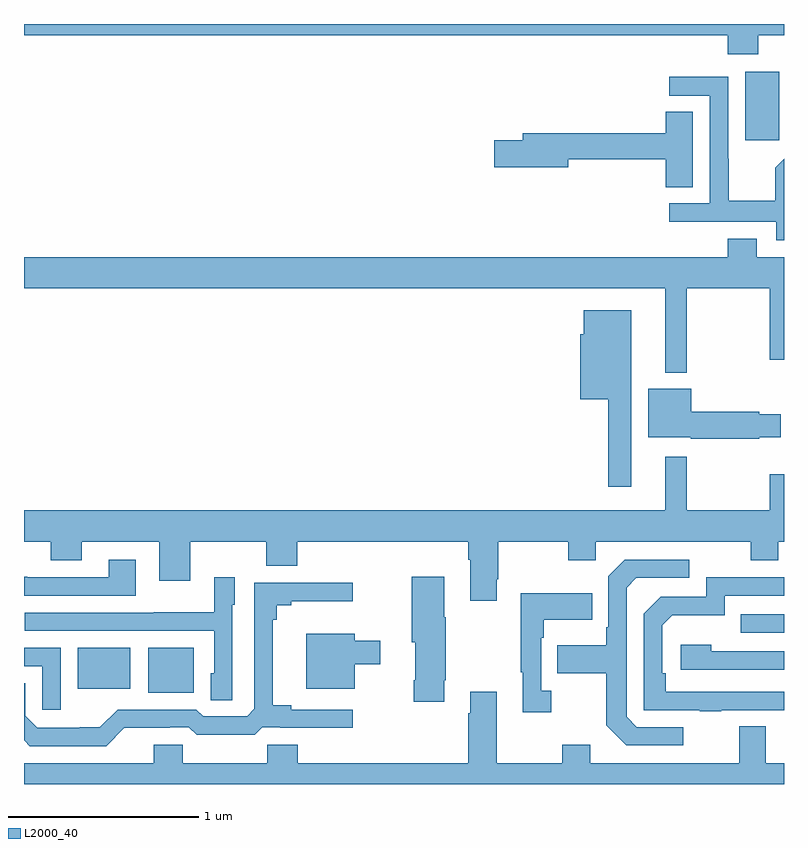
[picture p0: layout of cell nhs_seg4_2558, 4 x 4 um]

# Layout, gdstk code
import gdstk
lib = gdstk.Library(unit=1e-6, precision=1e-09)
def R(c, l, rs):  # rectangles x0, y0, x1, y1
    for r in rs: c.add(gdstk.rectangle(r[:2], r[2:], *l))
def P(c, l, *ps):  # polygons
    for p in ps: c.add(gdstk.Polygon(p, *l))
L2000_40 = (2000, 40)

nhs_seg4_2558 = lib.new_cell('nhs_seg4_2558')
R(nhs_seg4_2558, L2000_40, [(245.654,773.381,245.893,773.617), (245.282,773.402,245.56,773.617), (248.773,773.697,249,773.793), (248.795,776.289,248.974,776.65)])
P(nhs_seg4_2558, L2000_40, [(248.865,776.84),(249,776.84),(249,776.9),(245,776.9),(245,776.84),(248.705,776.84),(248.705,776.741),(248.865,776.741)],
  [(249,776.19),(248.953,776.143),(248.953,775.969),(248.709,775.969),(248.709,776.192),(248.706,776.192),(248.706,776.622),(248.397,776.622),(248.397,776.523),(248.61,776.523),(248.61,775.956),(248.397,775.956),(248.397,775.86),(248.958,775.86),(248.958,775.763),(249,775.763)],
  [(248.521,776.438),(248.378,776.438),(248.378,776.324),(247.625,776.324),(247.625,776.288),(247.476,776.288),(247.476,776.146),(247.864,776.146),(247.864,776.188),(248.378,776.188),(248.378,776.041),(248.521,776.041)],
  [(248.489,775.508),(248.924,775.508),(248.924,775.134),(249,775.134),(249,775.672),(248.857,775.672),(248.857,775.771),(248.705,775.771),(248.705,775.672),(245,775.672),(245,775.508),(248.375,775.508),(248.375,775.064),(248.489,775.064)],
  [(248.197,775.393),(247.946,775.393),(247.946,775.266),(247.928,775.266),(247.928,774.926),(248.076,774.926),(248.076,774.465),(248.197,774.465)],
  [(248.87,774.725),(248.983,774.725),(248.983,774.847),(248.87,774.847),(248.87,774.86),(248.512,774.86),(248.512,774.979),(248.285,774.979),(248.285,774.725),(248.508,774.725),(248.508,774.718),(248.87,774.718)],
  [(247.489,773.977),(247.497,773.977),(247.497,774.176),(247.864,774.176),(247.864,774.077),(248.01,774.077),(248.01,774.176),(248.824,774.176),(248.824,774.077),(248.971,774.077),(248.971,774.176),(249,774.176),(249,774.529),(248.924,774.529),(248.924,774.34),(248.489,774.34),(248.489,774.622),(248.375,774.622),(248.375,774.34),(245,774.34),(245,774.176),(245.141,774.176),(245.141,774.077),(245.305,774.077),(245.305,774.176),(245.711,774.176),(245.711,773.97),(245.875,773.97),(245.875,774.176),(246.275,774.176),(246.275,774.048),(246.439,774.048),(246.439,774.176),(247.337,774.176),(247.337,774.08),(247.349,774.08),(247.349,773.865),(247.489,773.865)],
  [(248.47,773.199),(248.226,773.199),(248.172,773.253),(248.172,773.934),(248.223,773.985),(248.5,773.985),(248.5,774.081),(248.163,774.081),(248.076,773.994),(248.076,773.725),(248.064,773.725),(248.064,773.629),(247.807,773.629),(247.807,773.482),(248.064,773.482),(248.064,773.209),(248.169,773.103),(248.47,773.103)],
  [(245.587,774.079),(245.447,774.079),(245.447,773.988),(245.017,773.988),(245.017,773.99),(245,773.99),(245,773.892),(245.587,773.892)],
  [(247.213,773.446),(247.221,773.446),(247.221,773.777),(247.213,773.777),(247.213,773.992),(247.04,773.992),(247.04,773.646),(247.058,773.646),(247.058,773.446),(247.051,773.446),(247.051,773.334),(247.213,773.334)],
  [(246.096,773.844),(246.109,773.844),(246.109,773.989),(246,773.989),(246,773.803),(245.683,773.803),(245.683,773.802),(245.005,773.802),(245.005,773.706),(246,773.706),(246,773.484),(245.984,773.484),(245.984,773.341),(246.096,773.341)],
  [(248.669,773.289),(249,773.289),(249,773.385),(248.378,773.385),(248.378,773.482),(248.358,773.482),(248.358,773.736),(248.411,773.789),(248.688,773.789),(248.688,773.892),(249,773.892),(249,773.988),(248.592,773.988),(248.592,773.886),(248.352,773.886),(248.262,773.796),(248.262,773.289),(248.557,773.289),(248.557,773.284),(248.669,773.284)],
  [(245.528,773.195),(245.768,773.195),(245.768,773.199),(245.868,773.199),(245.908,773.16),(246.215,773.16),(246.255,773.199),(246.349,773.199),(246.349,773.195),(246.73,773.195),(246.73,773.292),(246.406,773.292),(246.406,773.315),(246.31,773.315),(246.31,773.765),(246.329,773.765),(246.329,773.842),(246.406,773.842),(246.406,773.861),(246.73,773.861),(246.73,773.958),(246.213,773.958),(246.213,773.295),(246.174,773.256),(245.943,773.256),(245.907,773.292),(245.493,773.292),(245.399,773.198),(245.294,773.198),(245.294,773.196),(245.07,773.196),(245.007,773.259),(245.007,773.43),(245,773.43),(245,773.13),(245.03,773.1),(245.433,773.1)],
  [(247.774,773.39),(247.722,773.39),(247.722,773.669),(247.735,773.669),(247.735,773.765),(247.991,773.765),(247.991,773.905),(247.614,773.905),(247.614,773.489),(247.625,773.489),(247.625,773.277),(247.774,773.277)],
  [(246.742,773.531),(246.874,773.531),(246.874,773.653),(246.742,773.653),(246.742,773.692),(246.485,773.692),(246.485,773.402),(246.742,773.402)],
  [(249,773.598),(248.618,773.598),(248.618,773.632),(248.457,773.632),(248.457,773.502),(249,773.502)],
  [(245.193,773.616),(245,773.616),(245,773.52),(245.097,773.52),(245.097,773.292),(245.193,773.292)],
  [(249,773.008),(248.905,773.008),(248.905,773.203),(248.765,773.203),(248.765,773.008),(247.981,773.008),(247.981,773.107),(247.834,773.107),(247.834,773.008),(247.489,773.008),(247.489,773.386),(247.349,773.386),(247.349,773.273),(247.337,773.273),(247.337,773.008),(246.44,773.008),(246.44,773.106),(246.28,773.106),(246.28,773.008),(245.835,773.008),(245.835,773.106),(245.684,773.106),(245.684,773.008),(245,773.008),(245,772.9),(249,772.9)])

lib.write_gds('nhs_seg4_2558.gds')
